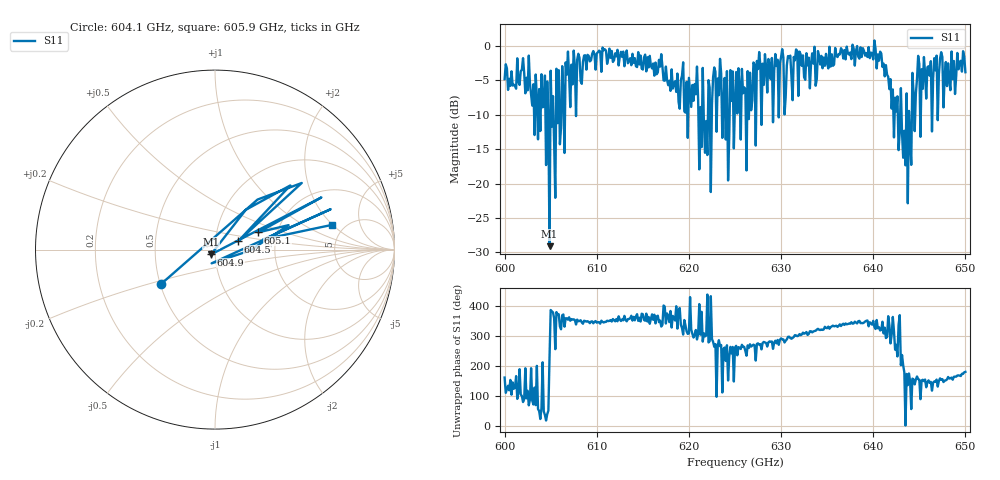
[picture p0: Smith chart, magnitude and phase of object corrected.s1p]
!Created with skrf (http://scikit-rf.org).
# GHz S MA R 50.0
!freq magS11 angS11
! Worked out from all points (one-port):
!   401 points, 600 GHz to 650 GHz, reference 50 ohm
!   lowest |S11| = -29.1 dB at 604.9 GHz (marker M1), VSWR 1.07, Z = 47.8 - j2.59 ohm
!   |S11| at or under -10 dB: 604.7279 GHz to 604.9686 GHz (240.8 MHz wide, 0.0398 % of centre); 621.6064 GHz to 622.0673 GHz (460.8 MHz wide, 0.0741 % of centre); 643.0739 GHz to 643.5878 GHz (514 MHz wide, 0.0799 % of centre) (the widest 3 of 37)
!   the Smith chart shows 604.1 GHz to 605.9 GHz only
!   S11 on the Smith chart (normalised r, x): 604.1 GHz: 0.50, -0.22; 604.5 GHz: 1.29, +0.12; 604.9 GHz: 0.96, -0.05; 605.1 GHz: 1.59, +0.33; 605.9 GHz: 3.97, +1.97
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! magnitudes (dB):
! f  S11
! 600 GHz  -4.8
! 604.1 GHz  -8.9
! 604.5 GHz  -17.3
! 604.6 GHz  -5.2
! 604.9 GHz  -29.1
! 605.1 GHz  -11.7
! 605.9 GHz  -3.5
! 606.2 GHz  -2.9
! 606.9 GHz  -0.8
! 612.5 GHz  -1.5
! 616.9 GHz  -3.0
! 618.8 GHz  -4.0
! 620.6 GHz  -5.5
! 621.1 GHz  -17.9
! 622.1 GHz  -5.0
! 622.9 GHz  -3.7
! 623.6 GHz  -13.4
! 624.1 GHz  -3.7
! 625 GHz  -8.3
! 626.5 GHz  -10.6
! 626.9 GHz  -7.9
! 628.5 GHz  -6.8
! 631.2 GHz  -7.9
! 637.5 GHz  -1.0
! 640.8 GHz  -0.8
! 643.8 GHz  -22.9
! 645 GHz  -2.6
! 650 GHz  -3.8
